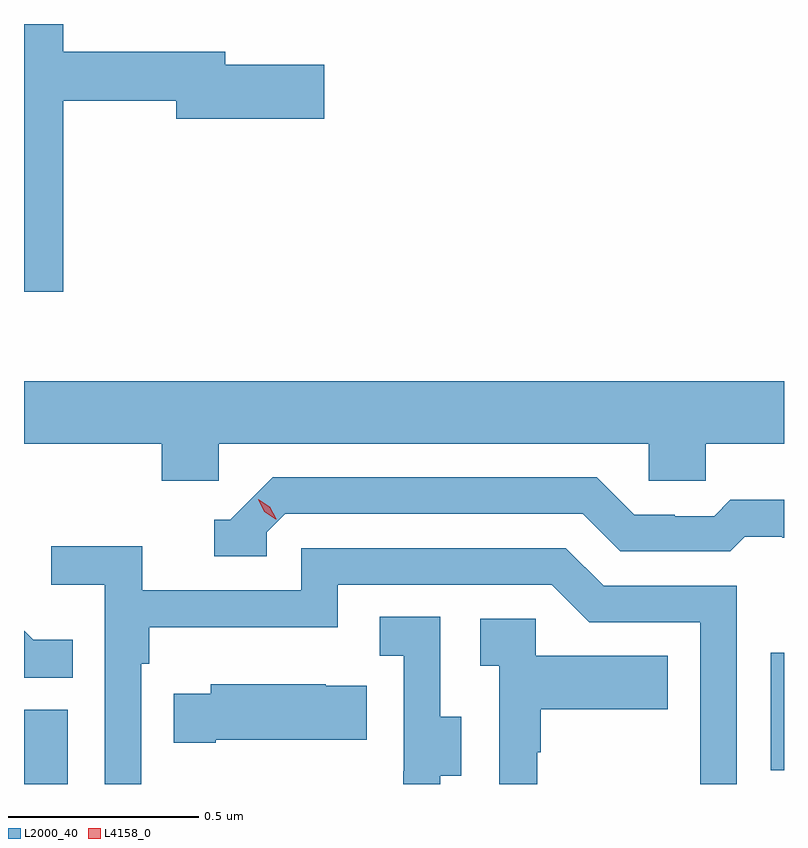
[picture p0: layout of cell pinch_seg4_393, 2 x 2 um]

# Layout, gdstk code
import gdstk
lib = gdstk.Library(unit=1e-6, precision=1e-09)
def R(c, l, rs):  # rectangles x0, y0, x1, y1
    for r in rs: c.add(gdstk.rectangle(r[:2], r[2:], *l))
def P(c, l, *ps):  # polygons
    for p in ps: c.add(gdstk.Polygon(p, *l))
L2000_40 = (2000, 40)
L4158_0 = (4158, 0)

pinch_seg4_393 = lib.new_cell('pinch_seg4_393')
R(pinch_seg4_393, L2000_40, [(999.885,782.604,1000,782.799), (1001.85,782.64,1001.885,782.95)])
P(pinch_seg4_393, L2000_40, [(999.988,784.402),(1000.286,784.402),(1000.286,784.355),(1000.675,784.355),(1000.675,784.497),(1000.414,784.497),(1000.414,784.531),(999.988,784.531),(999.988,784.604),(999.885,784.604),(999.885,783.9),(999.988,783.9)],
  [(1000.398,783.5),(1001.529,783.5),(1001.529,783.402),(1001.679,783.402),(1001.679,783.5),(1001.885,783.5),(1001.885,783.664),(999.885,783.664),(999.885,783.5),(1000.247,783.5),(1000.247,783.402),(1000.398,783.402)],
  [(1000.524,783.267),(1000.572,783.315),(1001.355,783.315),(1001.454,783.216),(1001.743,783.216),(1001.782,783.255),(1001.881,783.255),(1001.881,783.252),(1001.885,783.252),(1001.885,783.352),(1001.743,783.352),(1001.701,783.309),(1001.598,783.309),(1001.598,783.312),(1001.491,783.312),(1001.392,783.411),(1000.539,783.411),(1000.428,783.3),(1000.385,783.3),(1000.385,783.204),(1000.524,783.204)],
  [(1000.194,782.921),(1000.214,782.921),(1000.214,783.017),(1000.71,783.017),(1000.71,783.129),(1001.274,783.129),(1001.373,783.03),(1001.664,783.03),(1001.664,782.604),(1001.76,782.604),(1001.76,783.126),(1001.41,783.126),(1001.311,783.225),(1000.614,783.225),(1000.614,783.114),(1000.196,783.114),(1000.196,783.23),(999.957,783.23),(999.957,783.128),(1000.098,783.128),(1000.098,782.604),(1000.194,782.604)],
  [(1000.981,782.626),(1001.035,782.626),(1001.035,782.781),(1000.98,782.781),(1000.98,783.044),(1000.821,783.044),(1000.821,782.941),(1000.884,782.941),(1000.884,782.637),(1000.883,782.637),(1000.883,782.604),(1000.981,782.604)],
  [(1001.235,782.687),(1001.245,782.687),(1001.245,782.801),(1001.579,782.801),(1001.579,782.941),(1001.232,782.941),(1001.232,783.039),(1001.085,783.039),(1001.085,782.915),(1001.136,782.915),(1001.136,782.604),(1001.235,782.604)],
  [(1000.013,782.983),(999.909,782.983),(999.885,783.007),(999.885,782.884),(1000.013,782.884)],
  [(1000.39,782.72),(1000.787,782.72),(1000.787,782.863),(1000.679,782.863),(1000.679,782.866),(1000.377,782.866),(1000.377,782.842),(1000.279,782.842),(1000.279,782.713),(1000.39,782.713)])
P(pinch_seg4_393, L4158_0, [(1000.548,783.301),(1000.517,783.321),(1000.501,783.353),(1000.501,783.354),(1000.501,783.354),(1000.532,783.334),(1000.549,783.302),(1000.549,783.301)])

lib.write_gds('pinch_seg4_393.gds')
